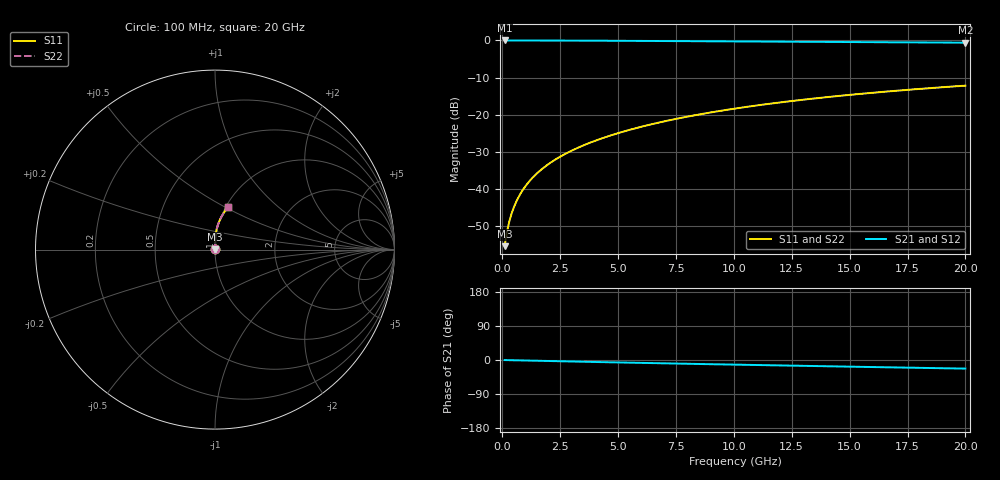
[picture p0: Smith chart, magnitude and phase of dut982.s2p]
! Touchstone file exported from HFSS 2024.1.0
!  File:  C:/UserFiles/LocalFiles/RDL_TSV_Batchsim/temp_RDL_top_982_1779939271.aedt
!  Generated:  11:36:57 AM May 28, 2026
!  Design:  RDL_top
!  Project:  temp_RDL_top_982_1779939271
!  Setup:  Setup1
!  Solution:  Sweep
! Variables:
!  dtsv = 10.80580581um
!  hbump = 3um
!  htsv = 90.71um
!  ldown = 100um
!  lrdl = 272.59um
!  p = 40
!  p1 = 59.82um
!  rhole = 1um
!  t = 450um
!  tdown = 3.915915916um
!  trdl = 3.85um
!  wdown = 15.38538539um
!  wrdl = 24.59um
# GHz S MA R 50.000000
! Terminal data exported
! Port[1] = Box2_T1
! Port[2] = Box2_T2
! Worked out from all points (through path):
!   200 points, 100 MHz to 20 GHz, reference 50 ohm
!   highest |S21| = -0.01 dB at 100 MHz (marker M1); lowest = -0.6 dB at 20 GHz (marker M2)
!   group delay of S21, straight-line fit = 3.12 ps
!   lowest |S11| = -55.5 dB at 100 MHz (marker M3), VSWR 1.00, Z = 50.1 + j0.116 ohm
!   |S11| at or under -10 dB: start of sweep to end of sweep
!   |S22| runs from -55.5 to -12.2 dB; largest |S21 - S12| = 3.1e-15
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0.1  0.001688 43.3  0.9988 -0.1  0.9988 -0.1  0.001688 43.3
! Gamma 0 0 0 0
! Port Impedance 50 0 50 0
0.2  0.002614 60.4  0.9987 -0.3  0.9987 -0.3  0.002614 60.4
0.3  0.003612 68.1  0.9986 -0.4  0.9986 -0.4  0.003612 68.1
0.4  0.004625 72.6  0.9985 -0.5  0.9985 -0.5  0.004625 72.6
0.5  0.005646 75.6  0.9984 -0.7  0.9984 -0.7  0.005646 75.6
0.6  0.006675 77.7  0.9984 -0.8  0.9984 -0.8  0.006675 77.7
0.8  0.008754 80.6  0.9982 -1.1  0.9982 -1.1  0.008754 80.6
1.1  0.01192 83.3  0.9979 -1.5  0.9979 -1.5  0.01192 83.3
1.5  0.01619 85.3  0.9974 -2.0  0.9974 -2.0  0.01619 85.3
1.8  0.01943 86.2  0.9969 -2.4  0.9969 -2.4  0.01943 86.2
2.1  0.02271 86.9  0.9964 -2.8  0.9964 -2.8  0.02271 86.9
2.7  0.02937 87.9  0.9951 -3.6  0.9951 -3.6  0.02937 87.9
3.5  0.03848 88.5  0.993 -4.6  0.993 -4.6  0.03848 88.5
4.2  0.04666 88.8  0.9909 -5.5  0.9909 -5.5  0.04667 88.8
5  0.05627 88.7  0.9883 -6.5  0.9883 -6.5  0.05627 88.7
5.9  0.06734 88.4  0.9851 -7.5  0.9851 -7.5  0.06735 88.4
6.8  0.07866 87.9  0.9819 -8.6  0.9819 -8.6  0.07867 87.9
8.4  0.09921 86.6  0.976 -10.4  0.976 -10.4  0.09922 86.6
10.1  0.1213 84.8  0.9697 -12.3  0.9697 -12.3  0.1213 84.8
13.4  0.1642 81.0  0.9575 -15.9  0.9575 -15.9  0.1642 81.0
16.7  0.2059 77.0  0.9452 -19.3  0.9452 -19.3  0.2059 77.0
20  0.2458 73.1  0.9324 -22.7  0.9324 -22.7  0.2459 73.1
